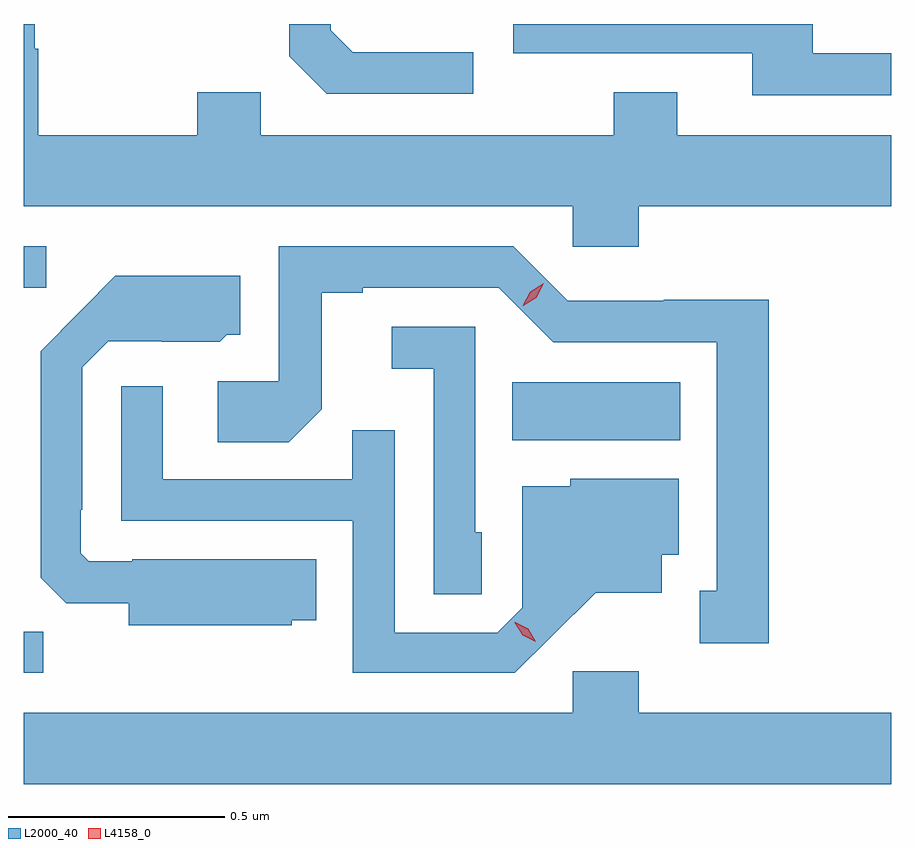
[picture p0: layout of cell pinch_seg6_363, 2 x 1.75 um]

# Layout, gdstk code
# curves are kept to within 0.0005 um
import gdstk
lib = gdstk.Library(unit=1e-6, precision=1e-09)
def R(c, l, rs):  # rectangles x0, y0, x1, y1
    for r in rs: c.add(gdstk.rectangle(r[:2], r[2:], *l))
def P(c, l, *ps):  # polygons
    for p in ps: c.add(gdstk.Polygon(p, *l))
L2000_40 = (2000, 40)
L4158_0 = (4158, 0)

pinch_seg6_363 = lib.new_cell('pinch_seg6_363')
R(pinch_seg6_363, L2000_40, [(682.584,951.588,682.629,951.683), (683.71,952.124,684.097,952.258), (682.584,952.476,682.636,952.572)])
P(pinch_seg6_363, L2000_40, [(684.002,952.664),(684.584,952.664),(684.584,952.828),(684.091,952.828),(684.091,952.927),(683.944,952.927),(683.944,952.828),(683.13,952.828),(683.13,952.927),(682.984,952.927),(682.984,952.828),(682.617,952.828),(682.617,953.027),(682.609,953.027),(682.609,953.084),(682.584,953.084),(682.584,952.664),(683.85,952.664),(683.85,952.571),(684.002,952.571)],
  [(684.584,953.016),(684.403,953.016),(684.403,953.084),(683.712,953.084),(683.712,953.016),(684.263,953.016),(684.263,952.92),(684.584,952.92)],
  [(683.62,953.019),(683.343,953.019),(683.292,953.07),(683.292,953.084),(683.196,953.084),(683.196,953.01),(683.283,952.923),(683.62,952.923)],
  [(684.301,952.448),(684.06,952.448),(684.06,952.446),(683.838,952.446),(683.712,952.572),(683.172,952.572),(683.172,952.26),(683.031,952.26),(683.031,952.12),(683.195,952.12),(683.271,952.196),(683.271,952.464),(683.365,952.464),(683.365,952.476),(683.679,952.476),(683.805,952.35),(684.182,952.35),(684.182,951.777),(684.143,951.777),(684.143,951.657),(684.301,951.657)],
  [(683.202,951.71),(683.258,951.71),(683.258,951.85),(682.834,951.85),(682.834,951.846),(682.734,951.846),(682.716,951.864),(682.716,951.964),(682.719,951.964),(682.719,952.293),(682.779,952.353),(682.902,952.353),(682.902,952.352),(683.036,952.352),(683.052,952.368),(683.083,952.368),(683.083,952.504),(682.795,952.504),(682.623,952.33),(682.623,951.808),(682.682,951.749),(682.826,951.749),(682.826,951.698),(683.202,951.698)],
  [(683.64,951.912),(683.625,951.912),(683.625,952.386),(683.433,952.386),(683.433,952.289),(683.529,952.289),(683.529,951.769),(683.64,951.769)],
  [(683.8,951.671),(683.903,951.773),(684.055,951.773),(684.055,951.86),(684.094,951.86),(684.094,952.036),(683.844,952.036),(683.844,952.018),(683.733,952.018),(683.733,951.738),(683.676,951.681),(683.439,951.681),(683.439,952.148),(683.341,952.148),(683.341,952.035),(682.905,952.035),(682.905,952.249),(682.809,952.249),(682.809,951.939),(683.343,951.939),(683.343,951.588),(683.716,951.588)],
  [(684.584,951.496),(684.002,951.496),(684.002,951.592),(683.85,951.592),(683.85,951.496),(682.584,951.496),(682.584,951.332),(684.584,951.332)])
P(pinch_seg6_363, L4158_0, [(683.734,952.434),(683.734,952.434),(683.752,952.467),(683.783,952.486),(683.783,952.486),(683.783,952.486),(683.766,952.453),(683.735,952.434)],
  [(683.764,951.66),(683.734,951.675),(683.716,951.704),(683.716,951.705),(683.717,951.705),(683.747,951.69),(683.764,951.66),(683.764,951.66)])

lib.write_gds('pinch_seg6_363.gds')
